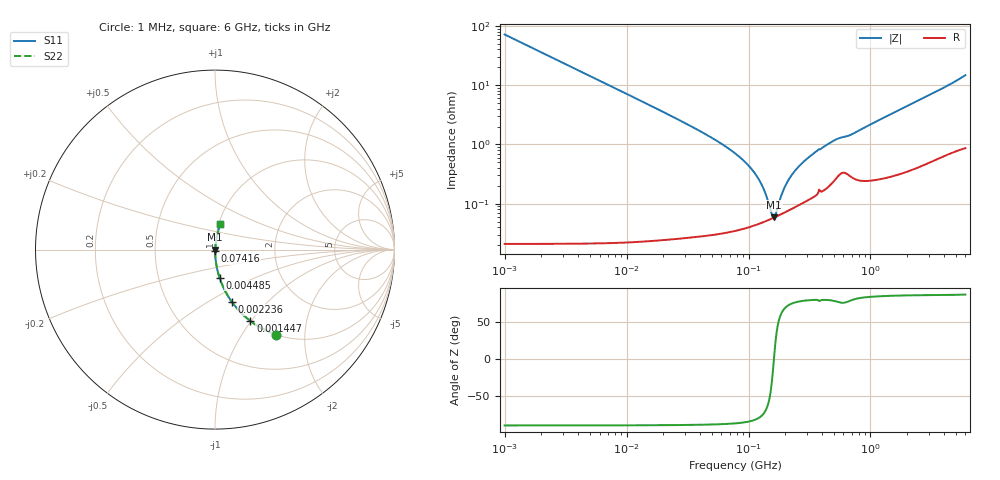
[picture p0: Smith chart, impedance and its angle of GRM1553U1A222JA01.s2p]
!Murata Part Number: GRM1553U1A222JA01
!These Parameters are Measured in Series Mode Connection
!Data Generated on Mar 30, 2021
!  o--ll--o
!Port1  Port2
!  o------o
!Operation Temp=25[degC], DC Bias Voltage=0[V]
!Freq. Start=1000[kHz] Stop=6[GHz] 401[Steps]
# Hz S RI R 50
!Freq.(Hz) S11(Real) S11(Imag) S21(Real) S21(Imag) S12(Real) S12(Imag) S22(Real) S22(Imag)
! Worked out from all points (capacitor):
!   401 points, 1 MHz to 6 GHz, reference 50 ohm
!   read as one part in series: C = 2.22 nF near 1.044 MHz
!   lowest |Z| = 58.5 mohm at 162.3 MHz (marker M1)
!   series resonance near 161.6 MHz, so ESL is about 440 pH
!   S11 on the Smith chart (normalised r, x): 1 MHz: 1.00, -1.43; 1.447 MHz: 1.00, -0.99; 2.236 MHz: 1.00, -0.64; 4.485 MHz: 1.00, -0.32; 74.16 MHz: 1.00, -0.02; 6 GHz: 1.02, +0.29
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1000000  0.3397 -0.4735  0.6603 0.4735  0.6603 0.4735  0.3397 -0.4735
1447343  0.1972 -0.3977  0.8028 0.3977  0.8028 0.3977  0.1972 -0.3977
2236037  0.0934 -0.2907  0.9066 0.2907  0.9066 0.2907  0.0934 -0.2907
4293785  0.0273 -0.1623  0.9727 0.1623  0.9727 0.1623  0.0273 -0.1623
4484676  0.0251 -0.1558  0.9749 0.1558  0.9749 0.1558  0.0251 -0.1558
1.843659e7  0.00171 -0.0383  0.9983 0.0383  0.9983 0.0383  0.00171 -0.0383
4.400437e7  0.000511 -0.015  0.9995 0.015  0.9995 0.015  0.000511 -0.015
7.416259e7  0.000397 -0.00758  0.9996 0.00758  0.9996 0.00758  0.000397 -0.00758
7.745967e7  0.000396 -0.00708  0.9996 0.00708  0.9996 0.00708  0.000396 -0.00708
1.170949e8  0.000451 -0.00287  0.9995 0.00287  0.9995 0.00287  0.000451 -0.00287
1.334167e8  0.000493 -0.00168  0.9995 0.00168  0.9995 0.00168  0.000493 -0.00168
1.553559e8  0.00056 -0.00034  0.9994 0.00034  0.9994 0.00034  0.00056 -0.00034
1.622626e8  0.000583 3.73e-05  0.9994 -3.73e-05  0.9994 -3.73e-05  0.000583 3.73e-05
1.694764e8  0.000608 0.000414  0.9994 -0.000414  0.9994 -0.000414  0.000608 0.000414
1.930997e8  0.000694 0.00154  0.9993 -0.00154  0.9993 -0.00154  0.000694 0.00154
2.152823e8  0.00078 0.00249  0.9992 -0.00249  0.9992 -0.00249  0.00078 0.00249
2.561955e8  0.000949 0.00406  0.9991 -0.00406  0.9991 -0.00406  0.000949 0.00406
3.325952e8  0.00129 0.00661  0.9987 -0.00661  0.9987 -0.00661  0.00129 0.00661
5.138348e8  0.00268 0.0116  0.9973 -0.0116  0.9973 -0.0116  0.00268 0.0116
6.967209e8  0.00301 0.0143  0.997 -0.0143  0.997 -0.0143  0.00301 0.0143
1.428092e9  0.00378 0.0312  0.9962 -0.0312  0.9962 -0.0312  0.00378 0.0312
6e9  0.0293 0.1419  0.9707 -0.1419  0.9707 -0.1419  0.0293 0.1419
